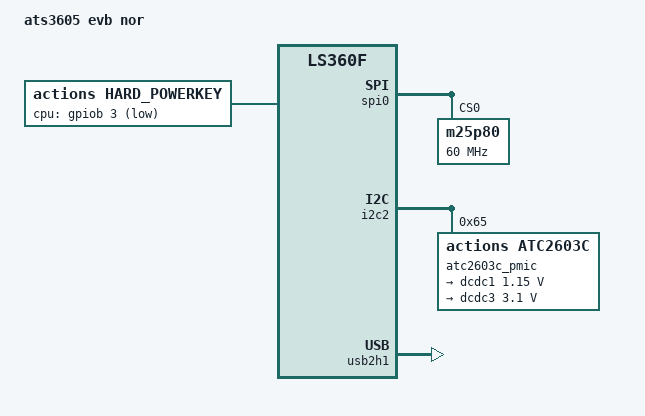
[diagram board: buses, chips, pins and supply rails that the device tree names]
/*
 * Copyright (c) 2015 Actions Semi Co., Ltd.
 *
 * SPDX-License-Identifier:	GPL-2.0+
 */

/dts-v1/;

#include "ats3605.dtsi"

/ {
	model = "ats3605 evb nor";
	compatible ="actions,ats3605";

	chosen {
		stdout-path = &serial2;
	};


	spi0: spi@b0300000 {
		status = "okay";
		m25p80@0 {
            compatible = "m25p80";
            #address-cells = <1>;
            #size-cells = <0>;
            reg = <0x0>;
            spi-max-frequency = <60000000>;
            uboot-partition = <0x0 0xe0000>;
            misc-partition = <0xe0000 0x20000>;
            system-partition = <0x100000 0xf00000>;
        };
	};

	hard_powerkey {
		compatible = "actions,hard_powerkey";
		cpu_gpios = <&gpiob 3 1>;/*hard_powerkey, (0: high  , 1: low )*/
		//pmu_sgpio = <4 1> ;  /*4 SGPIO num,    (0: high, 1: low)*/
	};
	i2c2: i2c@b0188000{
		#address-cells = <1>;
		#size-cells = <1>;
		atc2603c_pmic {
			compatible = "actions,atc2603c";
			reg = <0x65 1>;

			atc2603c_pstore {
				compatible = "actions,atc2603c-pstore";
			};

			voltage-regulators {
				dcdc1: dcdc1 {
					regulator-name = "dcdc1";
					regulator-min-microvolt = <1150000>;
					regulator-max-microvolt = <1150000>;
					regulator-always-on;
				};

				dcdc3: dcdc3 {
					regulator-name = "dcdc3";
					regulator-min-microvolt = <3100000>;
					regulator-max-microvolt = <3100000>;
					regulator-always-on;
				};

			};

			atc2603c-battery{
				compatible = "actions,atc2603c-battery";
				capacity = <4000>;/*unit:mAh*/
				shutdown_current = <50>;/*unit:ua*/
			};
			atc2603c-charger{
				compatible = "actions,atc2603c-charger";
				rsense = <20>;/*unit:mohm*/
				support_adaptor_type = <3>; /*1: DCIN  2: USB  3:DCIN+USB*/
				usb_pc_ctl_mode = <1>; /*0:disable vbus ctl;1:current limited;2:voltage limited*/
				//wall_switch = <&gpioa 25 0>;/*GPIOA25,0: high, 1: low*/
			};
		};
	};


	usb2h0: usb@b0240000 {
		id = <0>;
		usbecs = <0xb0158090>;
		vbus-gpio = <&gpiob 9 0>;
		status = "disabled";
	};

	usb2h1: usb@b0250000 {
		id = <1>;
		usbecs = <0xb0158094>;
		status = "okay";
	};
};
